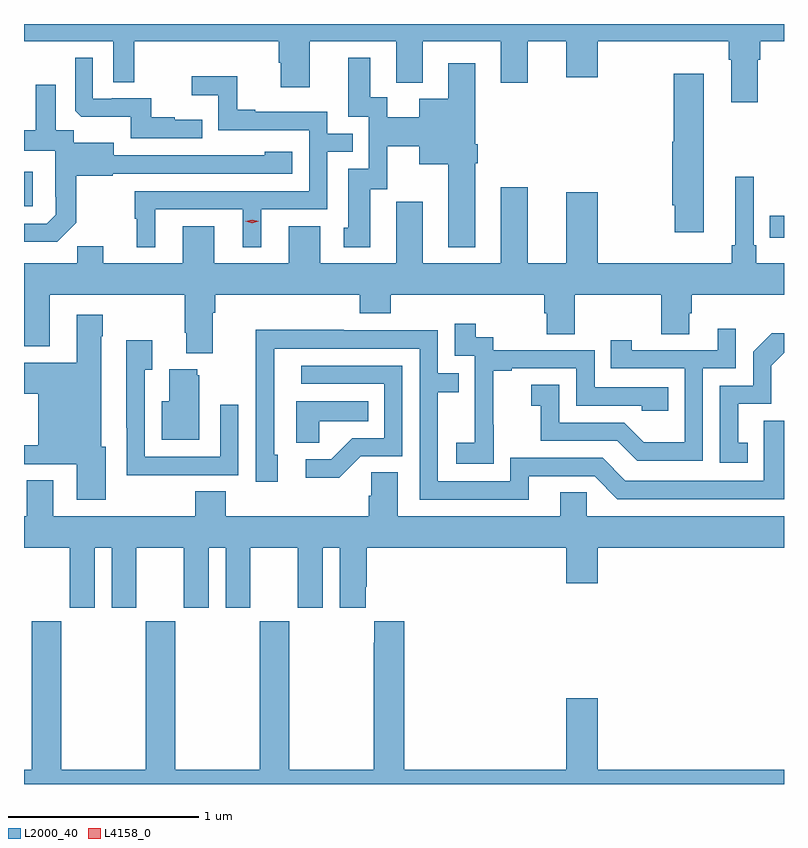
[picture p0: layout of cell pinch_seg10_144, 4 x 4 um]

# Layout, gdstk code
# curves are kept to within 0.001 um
import gdstk
lib = gdstk.Library(unit=1e-6, precision=1e-09)
def R(c, l, rs):  # rectangles x0, y0, x1, y1
    for r in rs: c.add(gdstk.rectangle(r[:2], r[2:], *l))
def P(c, l, *ps):  # polygons
    for p in ps: c.add(gdstk.Polygon(p, *l))
L2000_40 = (2000, 40)
L4158_0 = (4158, 0)

pinch_seg10_144 = lib.new_cell('pinch_seg10_144')
R(pinch_seg10_144, L2000_40, [(765.478,1284.63,765.553,1284.746), (761.553,1284.798,761.599,1284.979)])
P(pinch_seg10_144, L2000_40, [(765.415,1285.568),(765.428,1285.568),(765.428,1285.664),(765.553,1285.664),(765.553,1285.756),(761.553,1285.756),(761.553,1285.664),(762.024,1285.664),(762.024,1285.45),(762.133,1285.45),(762.133,1285.664),(762.893,1285.664),(762.893,1285.551),(762.905,1285.551),(762.905,1285.422),(763.057,1285.422),(763.057,1285.664),(763.511,1285.664),(763.511,1285.448),(763.651,1285.448),(763.651,1285.664),(764.063,1285.664),(764.063,1285.446),(764.203,1285.446),(764.203,1285.664),(764.408,1285.664),(764.408,1285.476),(764.572,1285.476),(764.572,1285.664),(765.263,1285.664),(765.263,1285.568),(765.275,1285.568),(765.275,1285.344),(765.415,1285.344)],
  [(762.491,1285.252),(762.347,1285.252),(762.347,1285.264),(762.224,1285.264),(762.224,1285.365),(762.016,1285.365),(762.016,1285.362),(761.916,1285.362),(761.916,1285.579),(761.823,1285.579),(761.823,1285.299),(761.855,1285.268),(762.114,1285.268),(762.114,1285.155),(762.491,1285.155)],
  [(763.927,1285.023),(763.94,1285.023),(763.94,1285.123),(763.927,1285.123),(763.927,1285.549),(763.787,1285.549),(763.787,1285.363),(763.634,1285.363),(763.634,1285.264),(763.465,1285.264),(763.465,1285.37),(763.375,1285.37),(763.375,1285.579),(763.259,1285.579),(763.259,1285.269),(763.368,1285.269),(763.368,1284.993),(763.259,1284.993),(763.259,1284.684),(763.235,1284.684),(763.235,1284.582),(763.375,1284.582),(763.375,1284.885),(763.464,1284.885),(763.464,1285.112),(763.634,1285.112),(763.634,1285.019),(763.787,1285.019),(763.787,1284.581),(763.927,1284.581)],
  [(765.13,1285.495),(764.972,1285.495),(764.972,1285.137),(764.966,1285.137),(764.966,1284.801),(764.977,1284.801),(764.977,1284.66),(765.13,1284.66)],
  [(762.244,1284.78),(762.704,1284.78),(762.704,1284.581),(762.802,1284.581),(762.802,1284.78),(763.149,1284.78),(763.149,1285.083),(763.283,1285.083),(763.283,1285.179),(763.149,1285.179),(763.149,1285.293),(762.769,1285.293),(762.769,1285.306),(762.675,1285.306),(762.675,1285.481),(762.435,1285.481),(762.435,1285.382),(762.576,1285.382),(762.576,1285.197),(763.053,1285.197),(763.053,1284.876),(762.135,1284.876),(762.135,1284.732),(762.146,1284.732),(762.146,1284.581),(762.244,1284.581)],
  [(761.829,1284.711),(761.829,1284.957),(762.021,1284.957),(762.021,1284.969),(762.964,1284.969),(762.964,1285.084),(762.819,1285.084),(762.819,1285.066),(762.025,1285.065),(762.025,1285.132),(761.814,1285.132),(761.814,1285.196),(761.719,1285.196),(761.719,1285.435),(761.615,1285.435),(761.615,1285.198),(761.553,1285.198),(761.553,1285.088),(761.718,1285.088),(761.718,1284.847),(761.72,1284.847),(761.72,1284.752),(761.673,1284.705),(761.553,1284.705),(761.553,1284.611),(761.729,1284.611)],
  [(762.547,1284.236),(762.56,1284.236),(762.56,1284.332),(763.319,1284.332),(763.319,1284.233),(763.484,1284.233),(763.484,1284.332),(764.291,1284.332),(764.291,1284.234),(764.303,1284.234),(764.303,1284.124),(764.451,1284.124),(764.451,1284.332),(764.908,1284.332),(764.908,1284.124),(765.055,1284.124),(765.055,1284.234),(765.068,1284.234),(765.068,1284.332),(765.553,1284.332),(765.553,1284.496),(765.407,1284.496),(765.407,1284.592),(765.393,1284.592),(765.393,1284.952),(765.296,1284.952),(765.296,1284.592),(765.277,1284.592),(765.277,1284.496),(764.572,1284.496),(764.572,1284.871),(764.408,1284.871),(764.408,1284.496),(764.203,1284.496),(764.203,1284.898),(764.063,1284.898),(764.063,1284.496),(763.651,1284.496),(763.651,1284.82),(763.512,1284.82),(763.512,1284.707),(763.511,1284.707),(763.511,1284.496),(763.111,1284.496),(763.111,1284.691),(762.947,1284.691),(762.947,1284.496),(762.553,1284.496),(762.553,1284.691),(762.389,1284.691),(762.389,1284.496),(761.971,1284.496),(761.971,1284.587),(761.833,1284.587),(761.833,1284.496),(761.553,1284.496),(761.553,1284.059),(761.689,1284.059),(761.689,1284.332),(762.4,1284.332),(762.4,1284.13),(762.407,1284.13),(762.407,1284.023),(762.547,1284.023)],
  [(761.983,1283.532),(761.959,1283.532),(761.959,1284.113),(761.967,1284.113),(761.967,1284.226),(761.831,1284.226),(761.831,1283.974),(761.553,1283.974),(761.553,1283.81),(761.627,1283.81),(761.627,1283.54),(761.553,1283.54),(761.553,1283.439),(761.831,1283.439),(761.831,1283.253),(761.983,1283.253)],
  [(764.025,1283.647),(764.024,1283.647),(764.024,1283.931),(764.119,1283.931),(764.119,1283.943),(764.46,1283.943),(764.46,1283.748),(764.805,1283.748),(764.805,1283.721),(764.945,1283.721),(764.945,1283.844),(764.556,1283.844),(764.556,1284.039),(764.022,1284.039),(764.022,1284.108),(763.93,1284.108),(763.93,1284.178),(763.821,1284.178),(763.821,1284.009),(763.926,1284.009),(763.926,1283.78),(763.925,1283.78),(763.925,1283.551),(763.827,1283.551),(763.827,1283.441),(764.025,1283.441)],
  [(765.126,1283.943),(765.3,1283.943),(765.3,1284.151),(765.203,1284.151),(765.203,1284.039),(764.752,1284.039),(764.752,1284.091),(764.641,1284.091),(764.641,1283.943),(765.03,1283.943),(765.03,1283.554),(764.816,1283.554),(764.712,1283.658),(764.37,1283.658),(764.37,1283.857),(764.223,1283.857),(764.223,1283.747),(764.272,1283.747),(764.272,1283.562),(764.675,1283.562),(764.78,1283.457),(765.126,1283.457)],
  [(764.209,1283.376),(764.556,1283.376),(764.676,1283.256),(765.553,1283.256),(765.553,1283.667),(765.447,1283.667),(765.447,1283.352),(764.718,1283.352),(764.598,1283.472),(764.112,1283.472),(764.112,1283.349),(763.731,1283.349),(763.731,1283.818),(763.841,1283.818),(763.841,1283.919),(763.731,1283.919),(763.731,1284.144),(763.235,1284.144),(763.235,1284.146),(762.772,1284.146),(762.772,1283.839),(762.774,1283.839),(762.774,1283.346),(762.889,1283.346),(762.889,1283.49),(762.87,1283.49),(762.87,1284.048),(763.635,1284.048),(763.635,1283.253),(764.209,1283.253)],
  [(765.362,1283.553),(765.313,1283.553),(765.313,1283.757),(765.486,1283.757),(765.486,1283.958),(765.553,1284.025),(765.553,1284.128),(765.488,1284.128),(765.39,1284.03),(765.39,1283.853),(765.216,1283.853),(765.216,1283.448),(765.362,1283.448)],
  [(762.365,1283.382),(762.681,1283.382),(762.681,1283.752),(762.585,1283.752),(762.585,1283.478),(762.189,1283.478),(762.189,1283.935),(762.229,1283.935),(762.229,1284.091),(762.092,1284.091),(762.092,1283.632),(762.093,1283.632),(762.093,1283.381),(762.365,1283.381)],
  [(763.326,1283.481),(763.545,1283.481),(763.545,1283.958),(763.011,1283.958),(763.011,1283.862),(763.449,1283.862),(763.449,1283.577),(763.28,1283.577),(763.169,1283.466),(763.035,1283.466),(763.035,1283.369),(763.213,1283.369)],
  [(762.475,1283.907),(762.464,1283.907),(762.464,1283.938),(762.317,1283.938),(762.317,1283.77),(762.278,1283.77),(762.278,1283.567),(762.475,1283.567)],
  [(763.107,1283.666),(763.364,1283.666),(763.364,1283.77),(762.986,1283.77),(762.986,1283.551),(763.107,1283.551)],
  [(761.926,1283),(762.014,1283),(762.014,1282.683),(762.145,1282.683),(762.145,1283),(762.395,1283),(762.395,1282.683),(762.526,1282.683),(762.526,1283),(762.614,1283),(762.614,1282.683),(762.745,1282.683),(762.745,1283),(762.995,1283),(762.995,1282.683),(763.126,1282.683),(763.126,1283),(763.214,1283),(763.214,1282.683),(763.351,1282.683),(763.351,1282.795),(763.358,1282.795),(763.358,1283),(764.408,1283),(764.408,1282.812),(764.572,1282.812),(764.572,1283),(765.553,1283),(765.553,1283.164),(764.514,1283.164),(764.514,1283.291),(764.375,1283.291),(764.375,1283.164),(763.519,1283.164),(763.519,1283.396),(763.38,1283.396),(763.38,1283.273),(763.367,1283.273),(763.367,1283.164),(762.614,1283.164),(762.614,1283.297),(762.454,1283.297),(762.454,1283.164),(761.707,1283.164),(761.707,1283.354),(761.567,1283.354),(761.567,1283.164),(761.553,1283.164),(761.553,1283),(761.795,1283),(761.795,1282.683),(761.926,1282.683)],
  [(765.553,1281.832),(764.572,1281.832),(764.572,1282.207),(764.408,1282.207),(764.408,1281.832),(763.553,1281.832),(763.553,1282.612),(763.397,1282.612),(763.397,1282.499),(763.393,1282.499),(763.393,1281.832),(762.948,1281.832),(762.948,1282.612),(762.793,1282.612),(762.793,1281.832),(762.348,1281.832),(762.348,1282.612),(762.193,1282.612),(762.193,1281.832),(761.748,1281.832),(761.748,1282.612),(761.593,1282.612),(761.593,1281.832),(761.553,1281.832),(761.553,1281.756),(765.553,1281.756)])
P(pinch_seg10_144, L4158_0, [(762.753,1284.707),(762.717,1284.717),(762.717,1284.717),(762.717,1284.718),(762.753,1284.727),(762.789,1284.718),(762.789,1284.717),(762.789,1284.717)])

lib.write_gds('pinch_seg10_144.gds')
